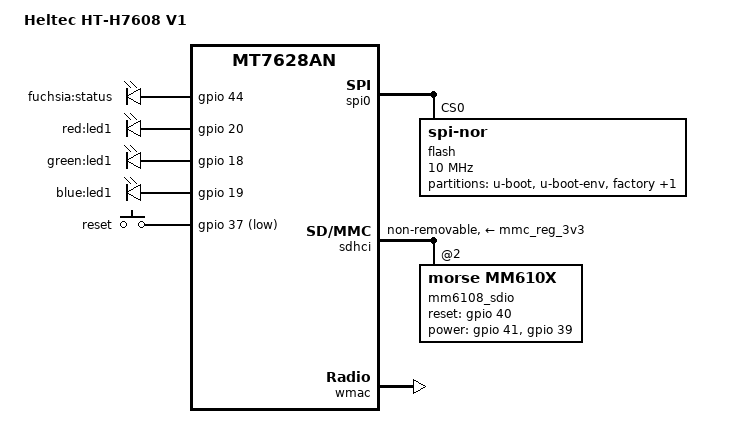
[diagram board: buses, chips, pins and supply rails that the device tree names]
// SPDX-License-Identifier: GPL-2.0-or-later OR MIT

#include "mt7628an.dtsi"

#include <dt-bindings/gpio/gpio.h>
#include <dt-bindings/input/input.h>
#include <dt-bindings/leds/common.h>

/ {
	compatible = "morse,ekh03v3", "heltec,ht-h7608-v1", "mediatek,mt7628an-soc";
	model = "Heltec HT-H7608 V1";

	aliases {
		serial0 = &uartlite;
		led-boot = &led_green;
		led-failsafe = &led_red;
		led-running = &led_green;
		led-upgrade = &led_blue;
		label-mac-device = &wmac;
	};

	chosen {
		bootargs = "console=ttyS0,115200";
	};

	leds {
		compatible = "gpio-leds";

		led_status: status {
			label = "fuchsia:status";
			gpios = <&gpio 44 GPIO_ACTIVE_HIGH>;
		};

		led_red: red {
			label = "red:led1";
			gpios = <&gpio 20 GPIO_ACTIVE_HIGH>;
		};

		led_green: green {
			label = "green:led1";
			gpios = <&gpio 18 GPIO_ACTIVE_HIGH>;
		};

		led_blue: blue {
			label = "blue:led1";
			gpios = <&gpio 19 GPIO_ACTIVE_HIGH>;
		};
	};

	keys {
		compatible = "gpio-keys";

		reset {
			label = "reset";
			gpios = <&gpio 37 GPIO_ACTIVE_LOW>;
			linux,code = <KEY_RESTART>;
		};
	};

	mmc_clock: mmc-clock {
		#clock-cells = <0>;
		compatible = "fixed-clock";
		clock-frequency = <48000000>;
	};

	reserved-memory {
		#address-cells = <1>;
		#size-cells = <1>;
		ranges;

		ramoops@7efffff {
			compatible = "ramoops";
			reg = <0x7efffff 0x100000>;
			record-size = <0x4000>;
			console-size = <0x4000>;
		};
	};
};

&state_default {
	gpio {
		groups = "wled_an", "p0led_an", "p1led_an", "p2led_an",
			 "p3led_an", "p4led_an", "refclk", "wdt", "i2s",
			 "uart1", "uart2", "pwm0", "pwm1";
		function = "gpio";
	};
};

&spi0 {
	status = "okay";

	flash@0 {
		compatible = "jedec,spi-nor";
		reg = <0>;
		spi-max-frequency = <10000000>;

		partitions {
			compatible = "fixed-partitions";
			#address-cells = <1>;
			#size-cells = <1>;

			partition@0 {
				label = "u-boot";
				reg = <0x0 0x30000>;
				read-only;
			};

			partition@30000 {
				label = "u-boot-env";
				reg = <0x30000 0x10000>;
			};

			partition@40000 {
				label = "factory";
				reg = <0x40000 0x10000>;
				read-only;

				nvmem-layout {
					compatible = "fixed-layout";
					#address-cells = <1>;
					#size-cells = <1>;

					eeprom_factory_0: eeprom@0 {
						reg = <0x0 0x400>;
					};

					macaddr_factory_28: macaddr@28 {
						reg = <0x28 0x6>;
					};
				};
			};

			partition@50000 {
				compatible = "denx,uimage";
				label = "firmware";
				reg = <0x50000 0x1fb0000>;
			};
		};
	};
};

&sdhci {
	status = "okay";

	/delete-property/ resets;
	/delete-property/ reset-names;
	clocks = <&mmc_clock>, <&mmc_clock>;
	clock-names = "source", "hclk";
	max-frequency = <48000000>;
	vmmc-supply = <&mmc_reg_3v3>;
	vqmmc-supply = <&mmc_reg_3v3>;
	cap-sd-highspeed;
	cap-mmc-highspeed;
	cap-sdio-irq;
	non-removable;
	disable-wp;

	mm6108_sdio: mm6108-sdio@0 {
		compatible = "morse,mm610x";
		reset-gpios = <&gpio 40 GPIO_ACTIVE_HIGH>;
		power-gpios = <&gpio 41 GPIO_ACTIVE_HIGH>,
			      <&gpio 39 GPIO_ACTIVE_HIGH>;
		status = "okay";
		reg = <2>;
		bus-width = <4>;
	};
};

&ethernet {
	nvmem-cells = <&macaddr_factory_28>;
	nvmem-cell-names = "mac-address";
};

&esw {
	mediatek,portmap = <0x7>;
	mediatek,portdisable = <0x3a>;
};

&wmac {
	status = "okay";
	nvmem-cells = <&eeprom_factory_0>;
	nvmem-cell-names = "eeprom";
};

&gpio {
	gpio-line-names =
		"I2S_SDI", "I2S_SDO", "I2S_WS", "I2S_CLK",
		"I2C_SCLK", "I2C_SD", "SPI_CS1", "SPI_CLK",
		"SPI_MOSI", "SPI_MISO", "SPI_CS0", "",
		"UART_TXD0", "UART_RXD0", "MDI_TP_P1", "MDI_TN_P1",
		"MDI_RP_P1", "MDI_RN_P1", "RGB_GREEN", "RGB_BLUE",
		"RGB_RED", "MDI_TN_P2", "MDI_TP_P3", "MDI_TN_P3",
		"MDI_RP_P3", "MDI_RN_P3", "MDI_RP_P4", "MDI_RN_P4",
		"MDI_TP_P4", "MDI_TN_P4", "", "",
		"", "", "", "", "PERST_N", "RESET_BUTTON", "WDT_RST_N",
		"MM_BUSY", "MM_RESET", "MM_WAKE", "EPHY_LED1_N",
		"EPHY_LED0_N", "STATUS_LED", "UART_TXD1", "UART_RXD1";
};
